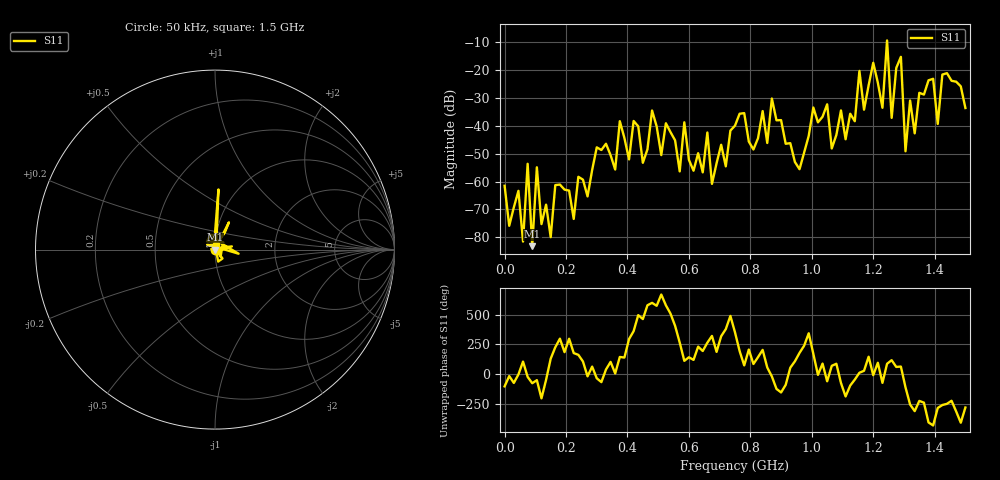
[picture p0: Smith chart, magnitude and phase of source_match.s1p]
! Created with skrf 1.8.0 (http://scikit-rf.org).
# Hz S RI R 50.0
!freq ReS11 ImS11
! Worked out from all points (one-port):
!   101 points, 50 kHz to 1.5 GHz, reference 50 ohm
!   lowest |S11| = -83.2 dB at 90.05 MHz (marker M1), VSWR 1.00, Z = 50 - j0.00679 ohm
!   |S11| at or under -10 dB: start of sweep to 1.245 GHz; 1.245 GHz to end of sweep
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50000  -0.000212 -0.000812
6.0048e7  -2.21e-05 8.1e-05
7.50475e7  0.00189 -0.000866
9.0047e7  1.46e-05 -6.79e-05
1.050465e8  0.00111 -0.00141
1.50045e8  -6.44e-05 7.74e-05
1.950435e8  -0.000713 -6.43e-05
3.60038e8  0.00163 0.000146
3.750375e8  -0.00977 0.00701
5.70031e8  -9.76e-05 -0.00151
5.850305e8  -0.00422 0.0107
6.150295e8  -0.000771 0.00136
6.60028e8  -0.000668 -0.00751
6.750275e8  0.000717 -0.000555
7.50025e8  0.00991 -0.00135
8.550215e8  0.00279 0.00402
8.70021e8  0.0287 -0.0106
9.450185e8  -0.000671 0.00213
1.005016e9  -0.0208 0.00339
1.125012e9  -0.00218 -0.0162
1.20001e9  0.1315 -0.0229
1.230009e9  0.00558 -0.0201
1.245008e9  0.0193 0.3351
1.260008e9  -0.00623 0.0123
1.290007e9  0.0776 0.152
1.305006e9  -0.00132 -0.00322
1.320006e9  -0.00587 0.0276
1.5e9  0.0047 0.0202
